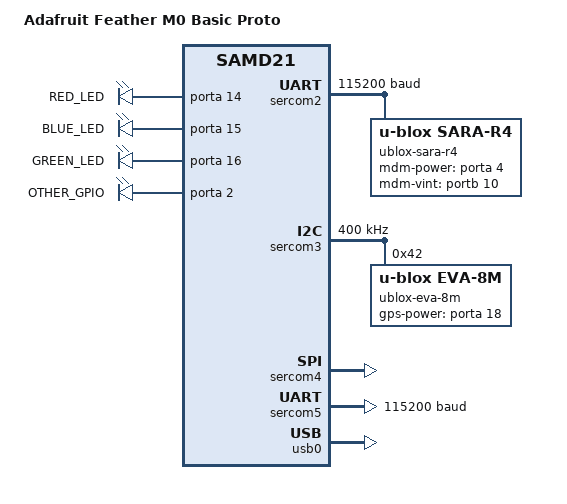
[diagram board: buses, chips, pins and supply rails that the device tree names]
/*
 * Copyright (c) 2018 Henrik Brix Andersen <henrik@brixandersen.dk>
 *
 * SPDX-License-Identifier: Apache-2.0
 */

/dts-v1/;
#include <atmel/samd21.dtsi>

#include "feather_connector.dtsi"

/ {	
	model = "Adafruit Feather M0 Basic Proto";
	compatible = "adafruit,feather-m0-basic-proto", "atmel,samd21g18a",
			"atmel,samd21";

	chosen {
		zephyr,console = &sercom5;
		zephyr,shell-uart = &sercom5;
		zephyr,sram = &sram0;
		zephyr,flash = &flash0;
		zephyr,code-partition = &code_partition;
	};

	/* These aliases are provided for compatibility with samples */
	aliases {
		led0 = &led0;
		led1 = &led1;
		led2 = &led2;
		other = &other;
	};

	leds {
		compatible = "gpio-leds";
		led0: led_0 {
			gpios = <&porta 14 0>;
			label = "RED_LED";
		};
		led1: led_1 {
			gpios = <&porta 15 0>;
			label = "BLUE_LED";
		};
		led2: led_2 {
			gpios = <&porta 16 0>;
			label = "GREEN_LED";
		};
		
		other: other {
			gpios = <&porta 2 0>,
					<&porta 3 0>,
					<&porta 5 0>,
					<&porta 6 0>,
					<&porta 7 0>,
					<&porta 8 0>,
					<&porta 9 0>,
					<&porta 10 0>,
					<&porta 11 0>,
					<&portb 8 0>,
					<&portb 9 0>,
					
					<&porta 19 0>,
					<&porta 20 0>,
					<&porta 21 0>,
					
					<&porta 25 0>,
					<&porta 24 0>,

					<&portb 22 0>,
					<&portb 23 0>,
					<&porta 28 0>,
					<&portb 11 0>;


			label = "OTHER_GPIO";
		};
	};
};

&cpu0 {
	clock-frequency = <48000000>;
};

&sercom2 {
	status = "okay";
	compatible = "atmel,sam0-uart";
	current-speed = <115200>;
	rxpo = <1>;
	txpo = <0>;

	pinctrl-0 = <&pa13c_sercom2_pad1 &pa12c_sercom2_pad0>;
	
	sara_r4 {
		status = "okay";
		compatible = "u-blox,sara-r4";
		label = "ublox-sara-r4";

		mdm-power-gpios = <&porta 4 GPIO_ACTIVE_HIGH>;
		mdm-vint-gpios = <&portb 10 0>;
	};
};

&sercom3 {
	status = "okay";
	compatible = "atmel,sam0-i2c";
	clock-frequency = <I2C_BITRATE_FAST>;
	#address-cells = <1>;
	#size-cells = <0>;

	eva8m@42 {
		status = "okay";
		compatible = "u-blox,eva-8m";
		reg = <0x42>;
		label = "ublox-eva-8m";
		
		gps-power-gpios = <&porta 18 GPIO_ACTIVE_HIGH>;
	};
	
	/*lsm303dlhc-magn@1e {
		compatible = "st,lsm303dlhc-magn";
		reg = <0x1e>;
		label = "LSM303DLHC-MAGN";
	};

	lsm303dlhc-accel@19 {
		compatible = "st,lis2dh", "st,lsm303dlhc-accel";
		reg = <0x19>;
		irq-gpios = <&porta 20 GPIO_ACTIVE_HIGH>,
			  <&porta 21 GPIO_ACTIVE_HIGH>;
		label = "LSM303DLHC-ACCEL";
	};*/
};

&sercom4 {
	status = "okay";
	compatible = "atmel,sam0-spi";
	#address-cells = <1>;
	#size-cells = <0>;
	dipo = <0>;
	dopo = <1>;
};

&sercom5 {
	status = "okay";
	compatible = "atmel,sam0-uart";
	current-speed = <115200>;
	rxpo = <1>;
	txpo = <0>;

	pinctrl-0 = <&pb3d_sercom5_pad1 &pb2d_sercom5_pad0>;
};

&flash0 {
	partitions {
		compatible = "fixed-partitions";
		#address-cells = <1>;
		#size-cells = <1>;

		boot_partition: partition@0 {
			label = "sam-ba";
			reg = <0x00000000 0x2000>;
			read-only;
		};

		code_partition: partition@2000 {
			label = "code";
			reg = <0x2000 0x3A000>;
			read-only;
		};

		/*
		 * The final 16 KiB is reserved for the application.
		 * Storage partition will be used by FCB/LittleFS/NVS
		 * if enabled.
		 */
		storage_partition: partition@3c000 {
			label = "storage";
			reg = <0x0003c000 0x00004000>;
		};
	};
};

&usb0 {
	status = "okay";
};
